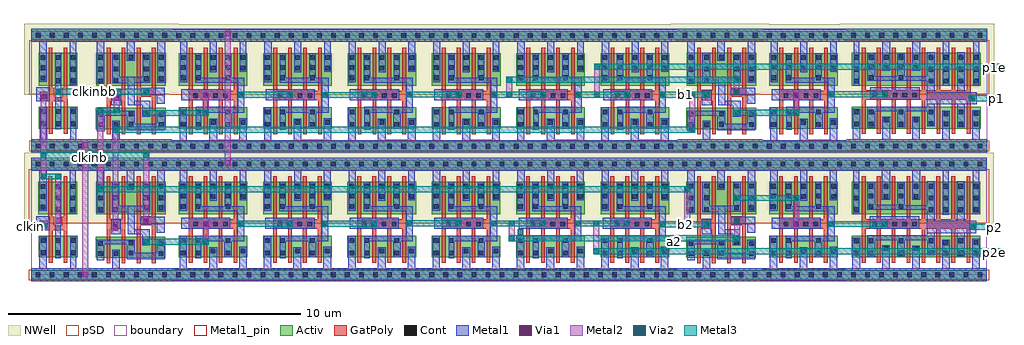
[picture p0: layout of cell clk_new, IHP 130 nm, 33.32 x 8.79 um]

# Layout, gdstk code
import gdstk
lib = gdstk.Library(unit=1e-6, precision=1e-09)
def R(c, l, rs):  # rectangles x0, y0, x1, y1
    for r in rs: c.add(gdstk.rectangle(r[:2], r[2:], *l))
def A(c, l, x, y, w, h, nx, ny, dx, dy):  # array of equal rectangles
    R(c, l, [(x+i*dx, y+j*dy, x+i*dx+w, y+j*dy+h) for i in range(nx) for j in range(ny)])
def P(c, l, *ps):  # polygons
    for p in ps: c.add(gdstk.Polygon(p, *l))
Activ = (1, 0)
GatPoly = (5, 0)
Cont = (6, 0)
Metal1 = (8, 0)
Metal1_pin = (8, 2)
Metal2 = (10, 0)
pSD = (14, 0)
Via1 = (19, 0)
Via2 = (29, 0)
Metal3 = (30, 0)
NWell = (31, 0)
boundary = (189, 4)

sg13g2_inv_8 = lib.new_cell('sg13g2_inv_8')
R(sg13g2_inv_8, Activ, [(0,-0.15,4.8,0.15), (0.185,0.59,4.575,1.33), (0.185,2.06,4.575,3.18), (0,3.63,4.8,3.93)])
P(sg13g2_inv_8, GatPoly, [(0.525,0.41),(0.525,3.36),(0.655,3.36),(0.655,1.9),(1.035,1.9),(1.035,3.36),(1.165,3.36),(1.165,1.9),(1.545,1.9),(1.545,3.36),(1.675,3.36),(1.675,1.9),(2.055,1.9),(2.055,3.36),(2.185,3.36),(2.185,1.9),(2.565,1.9),(2.565,3.36),(2.695,3.36),(2.695,1.9),(3.075,1.9),(3.075,3.36),(3.205,3.36),(3.205,1.9),(3.585,1.9),(3.585,3.36),(3.715,3.36),(3.715,1.9),(4.105,1.9),(4.105,3.36),(4.235,3.36),(4.235,0.41),(4.105,0.41),(4.105,1.57),(3.715,1.57),(3.715,0.41),(3.585,0.41),(3.585,1.57),(3.205,1.57),(3.205,0.41),(3.075,0.41),(3.075,1.57),(2.695,1.57),(2.695,0.41),(2.565,0.41),(2.565,1.57),(2.185,1.57),(2.185,0.41),(2.055,0.41),(2.055,1.57),(1.675,1.57),(1.675,0.41),(1.545,0.41),(1.545,1.57),(1.165,1.57),(1.165,0.41),(1.035,0.41),(1.035,1.57),(0.655,1.57),(0.655,0.41)])
A(sg13g2_inv_8, Cont, 0.765, 1.08, 0.16, 0.16, 4, 1, 1.02, 0)
A(sg13g2_inv_8, Cont, 0.89, 1.655, 0.16, 0.16, 5, 1, 0.34, 0)
A(sg13g2_inv_8, Cont, 2.805, 2.14, 0.16, 0.16, 3, 2, 0.51, 0.4)
A(sg13g2_inv_8, Cont, 0.255, 2.945, 0.16, 0.16, 8, 1, 0.51, 0)
R(sg13g2_inv_8, Cont, [(0.16,-0.08,0.32,0.08), (0.16,-0.08,0.32,0.08), (0.64,-0.08,0.8,0.08), (0.64,-0.08,0.8,0.08), (1.12,-0.08,1.28,0.08), (1.12,-0.08,1.28,0.08), (1.6,-0.08,1.76,0.08), (1.6,-0.08,1.76,0.08), (2.08,-0.08,2.24,0.08), (2.08,-0.08,2.24,0.08), (2.56,-0.08,2.72,0.08), (2.56,-0.08,2.72,0.08), (3.04,-0.08,3.2,0.08), (3.04,-0.08,3.2,0.08), (3.52,-0.08,3.68,0.08), (3.52,-0.08,3.68,0.08), (4,-0.08,4.16,0.08), (4,-0.08,4.16,0.08), (4.48,-0.08,4.64,0.08), (4.48,-0.08,4.64,0.08), (3.315,0.665,3.475,0.825), (0.255,0.67,0.415,0.83), (0.765,0.67,0.925,0.83), (1.785,0.67,1.945,0.83), (3.825,0.67,3.985,0.83), (4.345,0.67,4.505,0.83), (2.805,0.675,2.965,0.835), (1.275,0.815,1.435,0.975), (2.295,0.815,2.455,0.975), (3.315,1.015,3.475,1.175), (4.345,1.025,4.505,1.185), (0.255,1.08,0.415,1.24), (0.255,2.14,0.415,2.3), (4.345,2.14,4.505,2.3), (0.765,2.255,0.925,2.415), (1.785,2.255,1.945,2.415), (0.255,2.54,0.415,2.7), (4.345,2.54,4.505,2.7), (1.275,2.595,1.435,2.755), (2.295,2.595,2.455,2.755), (0.765,2.605,0.925,2.765), (1.785,2.605,1.945,2.765), (4.345,2.945,4.505,3.105), (0.16,3.7,0.32,3.86), (0.16,3.7,0.32,3.86), (0.64,3.7,0.8,3.86), (0.64,3.7,0.8,3.86), (1.12,3.7,1.28,3.86), (1.12,3.7,1.28,3.86), (1.6,3.7,1.76,3.86), (1.6,3.7,1.76,3.86), (2.08,3.7,2.24,3.86), (2.08,3.7,2.24,3.86), (2.56,3.7,2.72,3.86), (2.56,3.7,2.72,3.86), (3.04,3.7,3.2,3.86), (3.04,3.7,3.2,3.86), (3.52,3.7,3.68,3.86), (3.52,3.7,3.68,3.86), (4,3.7,4.16,3.86), (4,3.7,4.16,3.86), (4.48,3.7,4.64,3.86), (4.48,3.7,4.64,3.86)])
R(sg13g2_inv_8, Metal1, [(0.805,1.57,2.495,2)])
P(sg13g2_inv_8, Metal1, [(0,-0.22),(0,0.22),(0.205,0.22),(0.205,1.27),(0.465,1.27),(0.465,0.22),(1.225,0.22),(1.225,1),(1.485,1),(1.485,0.22),(2.245,0.22),(2.245,0.99),(2.505,0.99),(2.505,0.22),(3.265,0.22),(3.265,1.195),(3.525,1.195),(3.525,0.22),(4.295,0.22),(4.295,1.225),(4.555,1.225),(4.555,0.22),(4.8,0.22),(4.8,-0.22)],
  [(3.29,2.055),(3.29,3.56),(2.515,3.56),(2.515,2.56),(2.245,2.56),(2.245,3.56),(1.495,3.56),(1.495,2.565),(1.215,2.565),(1.215,3.56),(0.435,3.56),(0.435,2.06),(0.24,2.06),(0.24,3.56),(0,3.56),(0,4),(4.8,4),(4.8,3.56),(4.53,3.56),(4.53,2.065),(4.32,2.065),(4.32,3.56),(3.5,3.56),(3.5,2.055)],
  [(0.715,0.62),(0.715,1.345),(2.74,1.345),(2.74,2.22),(0.715,2.22),(0.715,3.16),(0.98,3.16),(0.98,2.385),(1.73,2.385),(1.73,3.155),(1.995,3.155),(1.995,2.38),(2.74,2.38),(2.74,3.2),(3.015,3.2),(3.015,1.84),(3.775,1.84),(3.775,3.19),(4.035,3.19),(4.035,1.84),(4.44,1.84),(4.44,1.42),(4.035,1.42),(4.035,0.64),(3.775,0.64),(3.775,1.42),(3.015,1.42),(3.015,0.665),(2.755,0.665),(2.755,1.18),(2,1.18),(2,0.635),(1.735,0.635),(1.735,1.18),(0.98,1.18),(0.98,0.62)])
R(sg13g2_inv_8, Metal1_pin, [(0,-0.22,4.8,0.22), (2.74,1.42,4.44,1.84), (0.805,1.57,2.495,2), (0,3.56,4.8,4)])
R(sg13g2_inv_8, pSD, [(-0.07,-0.18,4.87,0.18), (-0.07,1.76,4.87,3.6)])
R(sg13g2_inv_8, NWell, [(-0.24,1.75,5.04,4.17)])
R(sg13g2_inv_8, boundary, [(0,0,4.8,3.78)])
sg13g2_inv_8.add(gdstk.Label('VDD', (2.71,3.78), layer=8, texttype=25))
sg13g2_inv_8.add(gdstk.Label('VSS', (2.31,-0.02), layer=8, texttype=25))
sg13g2_inv_8.add(gdstk.Label('A', (1.645,1.785), layer=8, texttype=25))
sg13g2_inv_8.add(gdstk.Label('Y', (3.65,1.64), layer=8, texttype=25))

sg13g2_inv_2 = lib.new_cell('sg13g2_inv_2')
R(sg13g2_inv_2, Activ, [(0,-0.15,1.92,0.15), (0.265,0.59,1.59,1.33), (0.255,2.06,1.58,3.18), (0,3.63,1.92,3.93)])
P(sg13g2_inv_2, GatPoly, [(0.605,0.41),(0.605,1.52),(0.305,1.52),(0.305,1.85),(0.595,1.85),(0.595,3.36),(0.725,3.36),(0.725,1.985),(0.785,1.985),(0.785,1.67),(1.055,1.67),(1.055,1.985),(1.11,1.985),(1.11,3.36),(1.24,3.36),(1.24,1.585),(1.245,1.585),(1.245,0.41),(1.115,0.41),(1.115,1.52),(0.735,1.52),(0.735,0.41)])
A(sg13g2_inv_2, Cont, 0.84, 2.145, 0.16, 0.16, 1, 3, 0, 0.395)
A(sg13g2_inv_2, Cont, 1.35, 2.145, 0.16, 0.16, 1, 3, 0, 0.395)
R(sg13g2_inv_2, Cont, [(0.16,-0.08,0.32,0.08), (0.16,-0.08,0.32,0.08), (0.64,-0.08,0.8,0.08), (0.64,-0.08,0.8,0.08), (1.12,-0.08,1.28,0.08), (1.12,-0.08,1.28,0.08), (1.6,-0.08,1.76,0.08), (1.6,-0.08,1.76,0.08), (0.335,0.675,0.495,0.835), (0.845,0.675,1.005,0.835), (1.36,0.675,1.52,0.835), (0.335,1.09,0.495,1.25), (0.845,1.09,1.005,1.25), (1.36,1.09,1.52,1.25), (0.39,1.605,0.55,1.765), (0.325,2.235,0.485,2.395), (0.325,2.59,0.485,2.75), (0.325,2.935,0.485,3.095), (0.16,3.7,0.32,3.86), (0.16,3.7,0.32,3.86), (0.64,3.7,0.8,3.86), (0.64,3.7,0.8,3.86), (1.12,3.7,1.28,3.86), (1.12,3.7,1.28,3.86), (1.6,3.7,1.76,3.86), (1.6,3.7,1.76,3.86)])
R(sg13g2_inv_2, Metal1, [(0.825,0.57,1.02,3.18), (0.18,1.52,0.635,2)])
P(sg13g2_inv_2, Metal1, [(0,-0.22),(0,0.22),(0.285,0.22),(0.285,1.3),(0.545,1.3),(0.545,0.22),(1.34,0.22),(1.34,1.305),(1.54,1.305),(1.54,0.22),(1.92,0.22),(1.92,-0.22)],
  [(1.32,2.095),(1.32,3.56),(0.535,3.56),(0.535,2.185),(0.275,2.185),(0.275,3.56),(0,3.56),(0,4),(1.92,4),(1.92,3.56),(1.535,3.56),(1.535,2.095)])
R(sg13g2_inv_2, Metal1_pin, [(0,-0.22,1.92,0.22), (0.825,0.57,1.02,3.18), (0.18,1.52,0.635,2), (0,3.56,1.92,4)])
R(sg13g2_inv_2, pSD, [(-0.07,-0.18,1.99,0.18), (-0.07,1.76,1.99,3.6)])
R(sg13g2_inv_2, NWell, [(-0.24,1.75,2.16,4.17)])
R(sg13g2_inv_2, boundary, [(0,0,1.92,3.78)])
sg13g2_inv_2.add(gdstk.Label('A', (0.415,1.75), layer=8, texttype=25))
sg13g2_inv_2.add(gdstk.Label('Y', (0.925,1.855), layer=8, texttype=25))
sg13g2_inv_2.add(gdstk.Label('VDD', (0.935,3.785), layer=8, texttype=25))
sg13g2_inv_2.add(gdstk.Label('VSS', (0.89,0), layer=8, texttype=25))

sg13g2_nand2_2 = lib.new_cell('sg13g2_nand2_2')
R(sg13g2_nand2_2, Activ, [(0,-0.15,2.88,0.15), (0.285,0.575,2.67,1.295), (0.3,2.06,2.68,3.18), (0,3.63,2.88,3.93)])
P(sg13g2_nand2_2, GatPoly, [(1.69,0.395),(1.69,3.36),(1.82,3.36),(1.82,1.99),(2.2,1.99),(2.2,3.36),(2.33,3.36),(2.33,0.395),(2.2,0.395),(2.2,1.685),(1.82,1.685),(1.82,0.395)],
  [(0.66,0.395),(0.66,3.36),(0.79,3.36),(0.79,1.875),(1.17,1.875),(1.17,3.36),(1.3,3.36),(1.3,0.395),(1.17,0.395),(1.17,1.565),(0.79,1.565),(0.79,0.395)])
A(sg13g2_nand2_2, Cont, 1.6, -0.08, 0.16, 0.16, 3, 2, 0.48, 3.78)
A(sg13g2_nand2_2, Cont, 0.9, 2.15, 0.16, 0.16, 1, 3, 0, 0.4)
R(sg13g2_nand2_2, Cont, [(0.16,-0.08,0.32,0.08), (0.16,-0.08,0.32,0.08), (0.64,-0.08,0.8,0.08), (0.64,-0.08,0.8,0.08), (1.12,-0.08,1.28,0.08), (1.12,-0.08,1.28,0.08), (1.6,-0.08,1.76,0.08), (0.9,0.645,1.06,0.805), (0.38,0.65,0.54,0.81), (2.44,0.65,2.6,0.81), (1.41,0.66,1.57,0.82), (0.375,0.99,0.535,1.15), (2.44,0.99,2.6,1.15), (1.41,1.005,1.57,1.165), (1.93,1.05,2.09,1.21), (0.9,1.64,1.06,1.8), (1.93,1.76,2.09,1.92), (0.37,2.14,0.53,2.3), (1.93,2.21,2.09,2.37), (2.44,2.21,2.6,2.37), (0.37,2.54,0.53,2.7), (1.93,2.55,2.09,2.71), (2.44,2.55,2.6,2.71), (0.37,2.95,0.53,3.11), (1.41,2.95,1.57,3.11), (1.93,2.95,2.09,3.11), (2.44,2.95,2.6,3.11), (0.16,3.7,0.32,3.86), (0.16,3.7,0.32,3.86), (0.64,3.7,0.8,3.86), (0.64,3.7,0.8,3.86), (1.12,3.7,1.28,3.86), (1.12,3.7,1.28,3.86), (1.6,3.7,1.76,3.86)])
R(sg13g2_nand2_2, Metal1, [(0.82,1.39,1.15,1.92)])
P(sg13g2_nand2_2, Metal1, [(0,-0.22),(0,0.22),(0.85,0.22),(0.85,0.855),(1.11,0.855),(1.11,0.22),(2.88,0.22),(2.88,-0.22)],
  [(0.325,0.5),(0.325,1.2),(1.62,1.2),(1.62,0.76),(2.37,0.76),(2.37,1.2),(2.65,1.2),(2.65,0.53),(1.35,0.53),(1.35,1.035),(0.585,1.035),(0.585,0.5)],
  [(1.88,1),(1.88,1.39),(1.38,1.39),(1.38,2.14),(0.84,2.14),(0.84,3.18),(1.1,3.18),(1.1,2.36),(1.89,2.36),(1.89,3.18),(2.15,3.18),(2.15,2.16),(1.62,2.16),(1.62,1.55),(2.14,1.55),(2.14,1)],
  [(2.37,1.44),(2.37,1.73),(1.815,1.73),(1.815,1.98),(2.645,1.98),(2.645,1.44)],
  [(0.32,2.125),(0.32,3.56),(0,3.56),(0,4),(2.88,4),(2.88,3.56),(2.65,3.56),(2.65,2.16),(2.39,2.16),(2.39,3.56),(1.61,3.56),(1.61,2.9),(1.35,2.9),(1.35,3.56),(0.58,3.56),(0.58,2.125)])
R(sg13g2_nand2_2, Metal1_pin, [(0,-0.22,2.88,0.22), (0.82,1.39,1.15,1.92), (1.38,1.39,1.62,2.36), (1.815,1.73,2.645,1.98), (0,3.56,2.88,4)])
R(sg13g2_nand2_2, pSD, [(-0.07,-0.18,2.95,0.18), (-0.07,1.76,2.95,3.6)])
R(sg13g2_nand2_2, NWell, [(-0.24,1.75,3.12,4.17)])
R(sg13g2_nand2_2, boundary, [(0,0,2.88,3.78)])
sg13g2_nand2_2.add(gdstk.Label('VSS', (0.51,0), layer=8, texttype=25))
sg13g2_nand2_2.add(gdstk.Label('A', (2.01,1.84), layer=8, texttype=25))
sg13g2_nand2_2.add(gdstk.Label('VDD', (0.97,3.78), layer=8, texttype=25))
sg13g2_nand2_2.add(gdstk.Label('B', (0.98,1.655), layer=8, texttype=25))
sg13g2_nand2_2.add(gdstk.Label('Y', (1.48,2.105), layer=8, texttype=25))

sg13g2_inv_4 = lib.new_cell('sg13g2_inv_4')
R(sg13g2_inv_4, Activ, [(0,-0.15,2.88,0.15), (0.245,0.59,2.585,1.33), (0.245,2.06,2.585,3.18), (0,3.63,2.88,3.93)])
P(sg13g2_inv_4, GatPoly, [(0.585,0.41),(0.585,3.36),(0.715,3.36),(0.715,1.9),(1.095,1.9),(1.095,3.36),(1.225,3.36),(1.225,1.9),(1.605,1.9),(1.605,3.36),(1.735,3.36),(1.735,1.9),(2.115,1.9),(2.115,3.36),(2.245,3.36),(2.245,0.41),(2.115,0.41),(2.115,1.57),(1.735,1.57),(1.735,0.41),(1.605,0.41),(1.605,1.57),(1.225,1.57),(1.225,0.41),(1.095,0.41),(1.095,1.57),(0.715,1.57),(0.715,0.41)])
A(sg13g2_inv_4, Cont, 0.735, 1.655, 0.16, 0.16, 4, 1, 0.34, 0)
A(sg13g2_inv_4, Cont, 0.315, 2.945, 0.16, 0.16, 5, 1, 0.51, 0)
R(sg13g2_inv_4, Cont, [(0.16,-0.08,0.32,0.08), (0.16,-0.08,0.32,0.08), (0.64,-0.08,0.8,0.08), (0.64,-0.08,0.8,0.08), (1.12,-0.08,1.28,0.08), (1.12,-0.08,1.28,0.08), (1.6,-0.08,1.76,0.08), (1.6,-0.08,1.76,0.08), (2.08,-0.08,2.24,0.08), (2.08,-0.08,2.24,0.08), (2.56,-0.08,2.72,0.08), (2.56,-0.08,2.72,0.08), (0.315,0.665,0.475,0.825), (0.825,0.665,0.985,0.825), (1.845,0.665,2.005,0.825), (1.335,0.735,1.495,0.895), (2.355,0.735,2.515,0.895), (0.315,1.09,0.475,1.25), (0.825,1.09,0.985,1.25), (1.845,1.09,2.005,1.25), (0.315,2.255,0.475,2.415), (0.825,2.255,0.985,2.415), (1.845,2.255,2.005,2.415), (1.335,2.595,1.495,2.755), (2.355,2.595,2.515,2.755), (0.315,2.605,0.475,2.765), (0.825,2.605,0.985,2.765), (1.845,2.605,2.005,2.765), (0.16,3.7,0.32,3.86), (0.16,3.7,0.32,3.86), (0.64,3.7,0.8,3.86), (0.64,3.7,0.8,3.86), (1.12,3.7,1.28,3.86), (1.12,3.7,1.28,3.86), (1.6,3.7,1.76,3.86), (1.6,3.7,1.76,3.86), (2.08,3.7,2.24,3.86), (2.08,3.7,2.24,3.86), (2.56,3.7,2.72,3.86), (2.56,3.7,2.72,3.86)])
R(sg13g2_inv_4, Metal1, [(0.325,1.57,2,1.95)])
P(sg13g2_inv_4, Metal1, [(0.285,2.19),(0.285,3.56),(0,3.56),(0,4),(2.88,4),(2.88,3.56),(2.55,3.56),(2.55,2.54),(2.32,2.54),(2.32,3.56),(1.54,3.56),(1.54,2.53),(1.3,2.53),(1.3,3.56),(0.53,3.56),(0.53,2.19)],
  [(0,-0.21),(0,0.21),(0.27,0.21),(0.27,1.325),(0.52,1.325),(0.52,0.21),(1.28,0.21),(1.28,0.945),(1.55,0.945),(1.55,0.22),(2.305,0.22),(2.305,0.95),(2.565,0.95),(2.565,0.21),(2.88,0.21),(2.88,-0.21)],
  [(0.815,0.57),(0.815,1.34),(2.245,1.34),(2.245,2.17),(0.8,2.17),(0.8,3.18),(1.015,3.18),(1.015,2.34),(1.815,2.34),(1.815,3.175),(2.03,3.175),(2.03,2.34),(2.475,2.34),(2.475,1.145),(2.06,1.145),(2.06,0.595),(1.805,0.595),(1.805,1.145),(1.01,1.145),(1.01,0.57)])
R(sg13g2_inv_4, Metal1_pin, [(0,-0.21,2.88,0.21), (2.245,1.145,2.475,2.34), (0.325,1.57,2,1.95), (0,3.56,2.88,4)])
R(sg13g2_inv_4, pSD, [(-0.07,-0.18,2.95,0.18), (-0.07,1.76,2.95,3.6)])
R(sg13g2_inv_4, NWell, [(-0.24,1.75,3.12,4.17)])
R(sg13g2_inv_4, boundary, [(0,0,2.88,3.78)])
sg13g2_inv_4.add(gdstk.Label('VSS', (1.405,0.005), layer=8, texttype=25))
sg13g2_inv_4.add(gdstk.Label('Y', (2.36,1.755), layer=8, texttype=25))
sg13g2_inv_4.add(gdstk.Label('VDD', (1.925,3.8), layer=8, texttype=25))
sg13g2_inv_4.add(gdstk.Label('A', (1.12,1.76), layer=8, texttype=25))

clk_new = lib.new_cell('clk_new')
R(clk_new, Metal1, [(-7.565,-9.275,25.075,-8.835), (-7.56,-1.095,25.08,-0.655)])
R(clk_new, Metal2, [(-5.81,-9.145,-5.61,-4.515), (11.635,-8.355,11.835,-7.205), (-3.725,-8.025,-3.525,-7.825), (-1.7,-8.025,-1.5,-7.215), (-1.7,-8.025,-1.5,-7.825), (8.745,-7.91,8.945,-7.205), (16.445,-7.91,16.645,-7.11), (16.445,-7.91,16.645,-7.71), (-4.78,-7.545,-4.58,-4.005), (24.47,-7.525,24.67,-7.325), (-7.24,-7.485,-7.035,-7.285), (14.745,-7.435,14.945,-6.03), (15.41,-7.435,15.61,-7.235), (18.465,-7.435,18.665,-6.335), (13.9,-7.43,14.1,-7.23), (19.66,-7.42,19.86,-7.22), (21.49,-7.42,21.69,-7.22), (2.375,-7.415,2.575,-7.215), (4.045,-7.415,4.245,-7.215), (-0.505,-7.41,-0.305,-7.21), (1.165,-7.41,1.365,-7.21), (8.135,-7.405,8.335,-7.205), (9.805,-7.405,10.005,-7.205), (11.01,-7.405,11.21,-7.205), (12.68,-7.405,12.88,-7.205), (5.255,-7.4,5.455,-7.2), (6.925,-7.4,7.125,-7.2), (-6.74,-7.32,-6.54,-5.6), (-3.735,-7.315,-3.535,-4.875), (16.445,-7.31,16.645,-7.11), (16.44,-6.535,16.64,-6.335), (18.465,-6.535,18.665,-6.335), (-5.3,-6.23,-5.1,-3.33), (-7.24,-5.8,-7.04,-2.87), (-0.95,-5.345,-0.75,-0.715), (-7.24,-5.075,-7.04,-4.875), (14.91,-4.205,15.11,-2.805), (-3.725,-3.63,-3.525,-3.43), (-1.7,-3.63,-1.5,-2.82), (-1.7,-3.63,-1.5,-3.43), (16.435,-3.62,16.635,-3.42), (18.46,-3.62,18.66,-2.83), (18.46,-3.62,18.66,-3.42), (-4.74,-3.53,-4.54,-2.925), (-4.74,-3.265,-4.54,-2.925), (24.455,-3.13,24.655,-2.93), (2.385,-3.015,2.585,-2.815), (4.055,-3.015,4.255,-2.815), (-0.495,-3.01,-0.295,-2.81), (1.175,-3.01,1.375,-2.81), (8.145,-3.005,8.345,-2.805), (8.665,-3.005,8.865,-2.3), (9.815,-3.005,10.015,-2.805), (11.02,-3.005,11.22,-2.805), (11.66,-3.005,11.86,-1.855), (12.69,-3.005,12.89,-2.805), (14.91,-3.005,15.11,-2.805), (15.41,-3.005,15.61,-2.805), (5.265,-3,5.465,-2.8), (6.935,-3,7.135,-2.8), (13.9,-3,14.1,-2.8), (19.665,-2.995,19.865,-2.795), (21.495,-2.995,21.695,-2.795), (16.425,-2.91,16.625,-2.3), (-6.735,-2.9,-6.535,-2.7), (-3.72,-2.9,-3.52,-2.7), (16.425,-2.5,16.625,-2.3)])
R(clk_new, Via1, [(-5.805,-9.14,-5.615,-8.95), (-3.72,-8.02,-3.53,-7.83), (-4.775,-7.54,-4.585,-7.35), (24.475,-7.52,24.665,-7.33), (-7.235,-7.48,-7.045,-7.29), (15.415,-7.43,15.605,-7.24), (13.905,-7.425,14.095,-7.235), (18.47,-7.425,18.66,-7.235), (19.665,-7.415,19.855,-7.225), (21.495,-7.415,21.685,-7.225), (-1.695,-7.41,-1.505,-7.22), (2.38,-7.41,2.57,-7.22), (4.05,-7.41,4.24,-7.22), (-0.5,-7.405,-0.31,-7.215), (1.17,-7.405,1.36,-7.215), (8.14,-7.4,8.33,-7.21), (9.81,-7.4,10,-7.21), (11.015,-7.4,11.205,-7.21), (12.685,-7.4,12.875,-7.21), (5.26,-7.395,5.45,-7.205), (6.93,-7.395,7.12,-7.205), (-3.73,-7.31,-3.54,-7.12), (-6.735,-7.305,-6.545,-7.115), (16.45,-7.305,16.64,-7.115), (16.445,-6.53,16.635,-6.34), (-0.945,-5.34,-0.755,-5.15), (-5.805,-4.71,-5.615,-4.52), (-3.72,-3.625,-3.53,-3.435), (16.44,-3.615,16.63,-3.425), (24.46,-3.125,24.65,-2.935), (-4.735,-3.12,-4.545,-2.93), (-7.235,-3.065,-7.045,-2.875), (18.465,-3.025,18.655,-2.835), (-1.695,-3.015,-1.505,-2.825), (2.39,-3.01,2.58,-2.82), (4.06,-3.01,4.25,-2.82), (-0.49,-3.005,-0.3,-2.815), (1.18,-3.005,1.37,-2.815), (8.15,-3,8.34,-2.81), (9.82,-3,10.01,-2.81), (11.025,-3,11.215,-2.81), (12.695,-3,12.885,-2.81), (14.915,-3,15.105,-2.81), (15.415,-3,15.605,-2.81), (5.27,-2.995,5.46,-2.805), (6.94,-2.995,7.13,-2.805), (13.905,-2.995,14.095,-2.805), (19.67,-2.99,19.86,-2.8), (21.5,-2.99,21.69,-2.8), (16.43,-2.905,16.62,-2.715), (-6.73,-2.895,-6.54,-2.705), (-3.715,-2.895,-3.525,-2.705), (-0.945,-0.91,-0.755,-0.72)])
R(clk_new, Via2, [(11.64,-8.35,11.83,-8.16), (-3.72,-8.02,-3.53,-7.83), (-1.695,-8.02,-1.505,-7.83), (8.75,-7.905,8.94,-7.715), (16.45,-7.905,16.64,-7.715), (9.06,-7.69,9.25,-7.5), (24.475,-7.52,24.665,-7.33), (-7.235,-7.48,-7.045,-7.29), (14.75,-7.43,14.94,-7.24), (15.415,-7.43,15.605,-7.24), (13.905,-7.425,14.095,-7.235), (19.665,-7.415,19.855,-7.225), (21.495,-7.415,21.685,-7.225), (2.38,-7.41,2.57,-7.22), (4.05,-7.41,4.24,-7.22), (-0.5,-7.405,-0.31,-7.215), (1.17,-7.405,1.36,-7.215), (8.14,-7.4,8.33,-7.21), (8.75,-7.4,8.94,-7.21), (9.81,-7.4,10,-7.21), (11.015,-7.4,11.205,-7.21), (11.64,-7.4,11.83,-7.21), (12.685,-7.4,12.875,-7.21), (5.26,-7.395,5.45,-7.205), (6.93,-7.395,7.12,-7.205), (16.45,-7.305,16.64,-7.115), (16.445,-6.53,16.635,-6.34), (18.47,-6.53,18.66,-6.34), (-5.295,-6.225,-5.105,-6.035), (14.75,-6.225,14.94,-6.035), (-7.235,-5.795,-7.045,-5.605), (-6.735,-5.795,-6.545,-5.605), (-7.235,-5.07,-7.045,-4.88), (-3.73,-5.07,-3.54,-4.88), (-4.775,-4.2,-4.585,-4.01), (14.915,-4.2,15.105,-4.01), (-3.72,-3.625,-3.53,-3.435), (-1.695,-3.625,-1.505,-3.435), (16.44,-3.615,16.63,-3.425), (18.465,-3.615,18.655,-3.425), (-5.295,-3.525,-5.105,-3.335), (-4.735,-3.525,-4.545,-3.335), (24.46,-3.125,24.65,-2.935), (2.39,-3.01,2.58,-2.82), (4.06,-3.01,4.25,-2.82), (-0.49,-3.005,-0.3,-2.815), (1.18,-3.005,1.37,-2.815), (8.15,-3,8.34,-2.81), (8.67,-3,8.86,-2.81), (9.82,-3,10.01,-2.81), (11.025,-3,11.215,-2.81), (11.665,-3,11.855,-2.81), (12.695,-3,12.885,-2.81), (14.915,-3,15.105,-2.81), (15.415,-3,15.605,-2.81), (5.27,-2.995,5.46,-2.805), (6.94,-2.995,7.13,-2.805), (13.905,-2.995,14.095,-2.805), (19.67,-2.99,19.86,-2.8), (21.5,-2.99,21.69,-2.8), (16.43,-2.905,16.62,-2.715), (-6.73,-2.895,-6.54,-2.705), (-3.715,-2.895,-3.525,-2.705), (8.67,-2.495,8.86,-2.305), (16.43,-2.495,16.62,-2.305), (11.665,-2.05,11.855,-1.86)])
R(clk_new, Metal3, [(11.635,-8.355,25.52,-8.155), (-3.725,-8.025,-1.5,-7.825), (8.745,-7.91,16.645,-7.71), (24.47,-7.525,25.51,-7.325), (-7.795,-7.485,-7.04,-7.285), (13.9,-7.435,15.61,-7.235), (19.66,-7.42,21.69,-7.22), (2.375,-7.415,4.245,-7.215), (-0.505,-7.41,1.365,-7.21), (8.135,-7.405,10.005,-7.205), (11.01,-7.405,12.88,-7.205), (5.255,-7.4,7.125,-7.2), (16.44,-6.535,18.665,-6.335), (-5.3,-6.23,14.945,-6.03), (-7.24,-5.8,-6.54,-5.6), (-7.24,-5.075,-3.535,-4.875), (-4.78,-4.205,15.11,-4.005), (-3.725,-3.63,-1.5,-3.43), (16.435,-3.62,18.66,-3.42), (-5.3,-3.53,-4.54,-3.33), (24.455,-3.13,25.515,-2.93), (2.385,-3.015,4.255,-2.815), (-0.495,-3.01,1.375,-2.81), (8.145,-3.005,10.015,-2.805), (11.02,-3.005,12.89,-2.805), (13.9,-3.005,15.61,-2.805), (5.265,-3,7.135,-2.8), (19.665,-2.995,21.695,-2.795), (-6.735,-2.9,-3.52,-2.7), (8.665,-2.5,16.625,-2.3), (11.66,-2.055,25.515,-1.855)])
clk_new.add(gdstk.Reference(sg13g2_inv_8, (20.275,-9.055)))
clk_new.add(gdstk.Reference(sg13g2_inv_8, (20.28,-4.655)))
clk_new.add(gdstk.Reference(sg13g2_inv_2, (-7.565,-9.055)))
clk_new.add(gdstk.Reference(sg13g2_inv_2, (-7.56,-4.655)))
clk_new.add(gdstk.Reference(sg13g2_nand2_2, (-5.645,-9.055)))
clk_new.add(gdstk.Reference(sg13g2_nand2_2, (14.515,-9.055)))
clk_new.add(gdstk.Reference(sg13g2_nand2_2, (-5.64,-4.655)))
clk_new.add(gdstk.Reference(sg13g2_nand2_2, (14.52,-4.655)))
clk_new.add(gdstk.Reference(sg13g2_inv_4, (-2.765,-9.055)))
clk_new.add(gdstk.Reference(sg13g2_inv_4, (0.115,-9.055)))
clk_new.add(gdstk.Reference(sg13g2_inv_4, (2.995,-9.055)))
clk_new.add(gdstk.Reference(sg13g2_inv_4, (5.875,-9.055)))
clk_new.add(gdstk.Reference(sg13g2_inv_4, (8.755,-9.055)))
clk_new.add(gdstk.Reference(sg13g2_inv_4, (11.635,-9.055)))
clk_new.add(gdstk.Reference(sg13g2_inv_4, (17.395,-9.055)))
clk_new.add(gdstk.Reference(sg13g2_inv_4, (-2.76,-4.665)))
clk_new.add(gdstk.Reference(sg13g2_inv_4, (0.12,-4.665)))
clk_new.add(gdstk.Reference(sg13g2_inv_4, (3,-4.665)))
clk_new.add(gdstk.Reference(sg13g2_inv_4, (5.88,-4.665)))
clk_new.add(gdstk.Reference(sg13g2_inv_4, (8.76,-4.665)))
clk_new.add(gdstk.Reference(sg13g2_inv_4, (11.64,-4.665)))
clk_new.add(gdstk.Reference(sg13g2_inv_4, (17.4,-4.665)))
clk_new.add(gdstk.Label('clkinbb', (-5.39,-2.795), layer=30, texttype=25))
clk_new.add(gdstk.Label('clkinb', (-5.58,-5.035), layer=30, texttype=25))
clk_new.add(gdstk.Label('b1', (14.77,-2.9), layer=30, texttype=25))
clk_new.add(gdstk.Label('a1', (14.4,-2.515), layer=30, texttype=25))
clk_new.add(gdstk.Label('p1e', (25.335,-1.965), layer=30, texttype=25))
clk_new.add(gdstk.Label('p2', (25.325,-7.425), layer=30, texttype=25))
clk_new.add(gdstk.Label('b2', (14.77,-7.33), layer=30, texttype=25))
clk_new.add(gdstk.Label('a2', (14.41,-7.915), layer=30, texttype=25))
clk_new.add(gdstk.Label('p1', (25.415,-3.025), layer=30, texttype=25))
clk_new.add(gdstk.Label('p2e', (25.32,-8.295), layer=30, texttype=25))
clk_new.add(gdstk.Label('clkin', (-7.57,-7.405), layer=30, texttype=25))

lib.write_gds('clk_new.gds')
